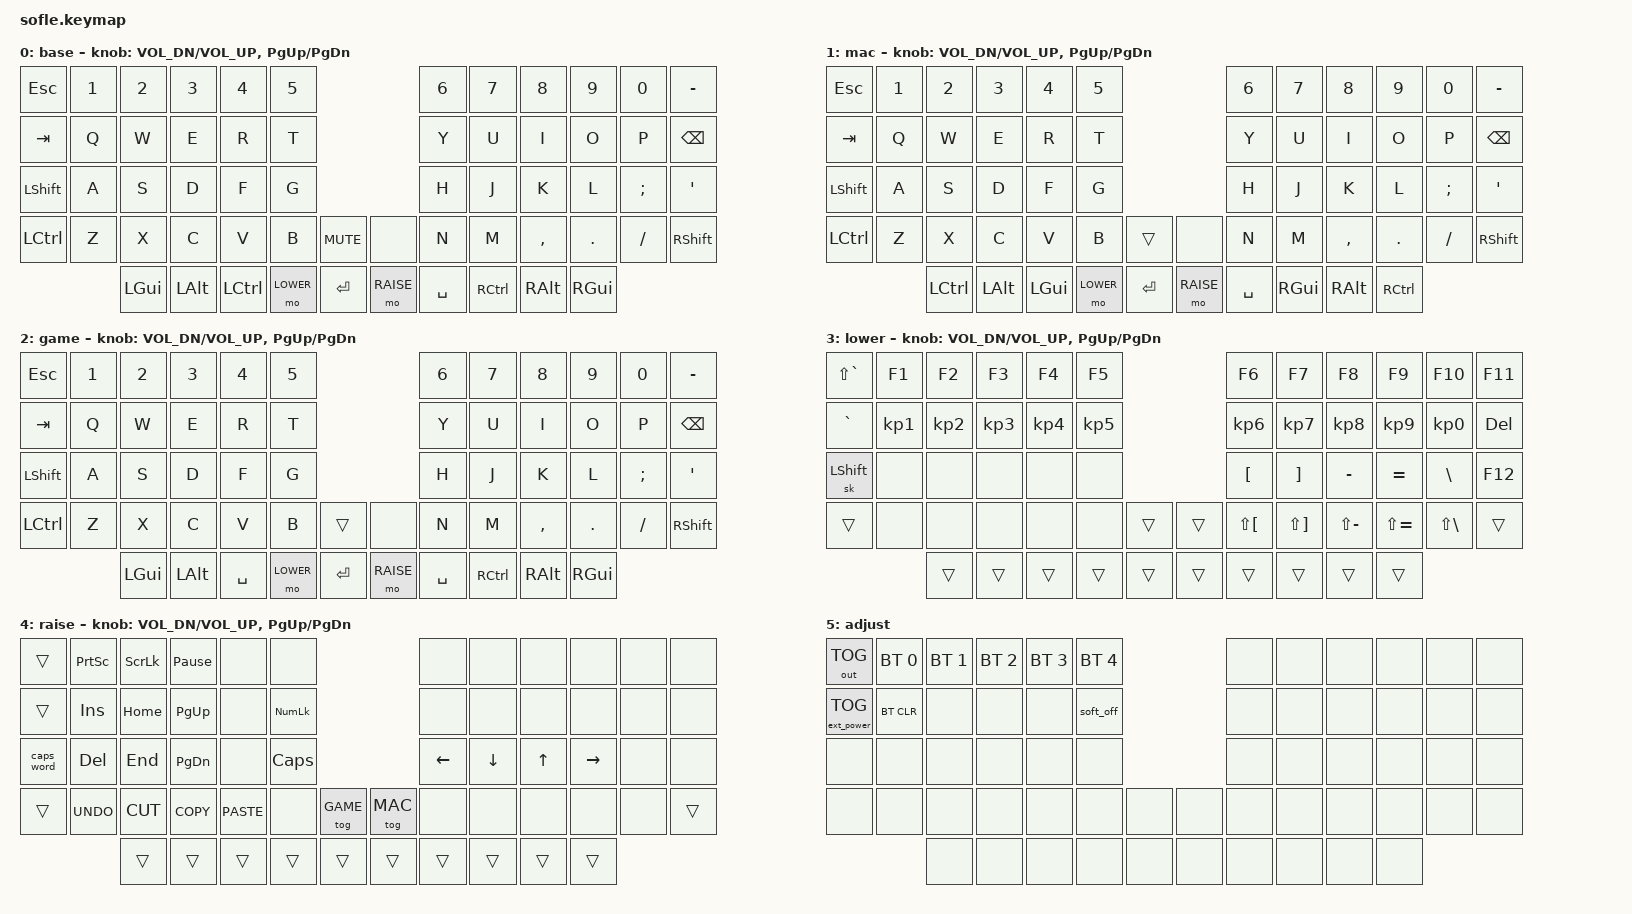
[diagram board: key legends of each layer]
/*
 * Copyright (c) 2020 The ZMK Contributors
 *
 * SPDX-License-Identifier: MIT
 */

#include <behaviors.dtsi>
#include <dt-bindings/zmk/keys.h>
#include <dt-bindings/zmk/bt.h>
#include <dt-bindings/zmk/rgb.h>
#include <dt-bindings/zmk/ext_power.h>
#include <dt-bindings/zmk/outputs.h>

#define BASE   0
#define MAC    1
#define GAME   2
#define LOWER  3
#define RAISE  4
#define ADJUST 5

/ {

   // Activate ADJUST layer by pressing raise and lower
    conditional_layers {
        compatible = "zmk,conditional-layers";
        adjust_layer {
            if-layers = <LOWER RAISE>;
            then-layer = <ADJUST>;
        };
    };

    keymap {
        compatible = "zmk,keymap";

        base_layer {
            display-name = "base";
// ------------------------------------------------------------------------------------------------------------
// |  ESC  |  1  |  2  |  3  |  4   |  5   |                   |  6   |  7    |  8   |  9   |   0   |   -   |
// |  TAB  |  Q  |  W  |  E  |  R   |  T   |                   |  Y   |  U    |  I   |  O   |   P   | BKSPC |
// | SHIFT |  A  |  S  |  D  |  F   |  G   |                   |  H   |  J    |  K   |  L   |   ;   |   '   |
// | CTRL  |  Z  |  X  |  C  |  V   |  B   |  MUTE  |  |       |  N   |  M    |  ,   |  .   |   /   | SHIFT |
//               | GUI | ALT | CTRL | LOWER|  ENTER |  | RAISE | SPACE| CTRL  | ALT  | GUI  |
            bindings = <
&kp ESC   &kp N1 &kp N2   &kp N3   &kp N4    &kp N5                          &kp N6    &kp N7    &kp N8    &kp N9   &kp N0   &kp MINUS
&kp TAB   &kp Q  &kp W    &kp E    &kp R     &kp T                           &kp Y     &kp U     &kp I     &kp O    &kp P    &kp BSPC
&kp LSHFT &kp A  &kp S    &kp D    &kp F     &kp G                           &kp H     &kp J     &kp K     &kp L    &kp SEMI &kp SQT
&kp LCTRL &kp Z  &kp X    &kp C    &kp V     &kp B     &kp C_MUTE  &none     &kp N     &kp M     &kp COMMA &kp DOT  &kp FSLH &kp RSHFT
            	 &kp LGUI &kp LALT &kp LCTRL &mo LOWER &kp RET     &mo RAISE &kp SPACE &kp RCTRL &kp RALT  &kp RGUI
            >;

            sensor-bindings = <&inc_dec_kp C_VOL_DN C_VOL_UP &inc_dec_kp PG_UP PG_DN>;
        };

        mac_layer {
            display-name = "mac";
// ------------------------------------------------------------------------------------------------------------
// |  ESC  |  1  |  2  |  3  |  4  |  5   |                   |  6   |  7   |  8   |  9   |   0   |   -   |
// |  TAB  |  Q  |  W  |  E  |  R  |  T   |                   |  Y   |  U   |  I   |  O   |   P   | BKSPC |
// | SHIFT |  A  |  S  |  D  |  F  |  G   |                   |  H   |  J   |  K   |  L   |   ;   |   '   |
// | CTRL  |  Z  |  X  |  C  |  V  |  B   |        |  |       |  N   |  M   |  ,   |  .   |   /   | SHIFT |
//               | CTRL| ALT | GUI | LOWER|  ENTER |  | RAISE | SPACE| GUI  | ALT  | CTRL |
            bindings = <
&kp ESC   &kp N1 &kp N2    &kp N3   &kp N4   &kp N5                       &kp N6    &kp N7   &kp N8    &kp N9    &kp N0   &kp MINUS
&kp TAB   &kp Q  &kp W     &kp E    &kp R    &kp T                        &kp Y     &kp U    &kp I     &kp O     &kp P    &kp BSPC
&kp LSHFT &kp A  &kp S     &kp D    &kp F    &kp G                        &kp H     &kp J    &kp K     &kp L     &kp SEMI &kp SQT
&kp LCTRL &kp Z  &kp X     &kp C    &kp V    &kp B     &trans   &none     &kp N     &kp M    &kp COMMA &kp DOT   &kp FSLH &kp RSHFT
            	 &kp LCTRL &kp LALT &kp LGUI &mo LOWER &kp RET  &mo RAISE &kp SPACE &kp RGUI &kp RALT  &kp RCTRL
            >;

            sensor-bindings = <&inc_dec_kp C_VOL_DN C_VOL_UP &inc_dec_kp PG_UP PG_DN>;
        };

        game_layer {
            display-name = "game";
// ------------------------------------------------------------------------------------------------------------
// |  ESC  |  1  |  2  |  3  |  4   |  5   |                   |  6   |  7    |  8   |  9   |   0   |   -   |
// |  TAB  |  Q  |  W  |  E  |  R   |  T   |                   |  Y   |  U    |  I   |  O   |   P   | BKSPC |
// | SHIFT |  A  |  S  |  D  |  F   |  G   |                   |  H   |  J    |  K   |  L   |   ;   |   '   |
// | CTRL  |  Z  |  X  |  C  |  V   |  B   |        |  |       |  N   |  M    |  ,   |  .   |   /   | SHIFT |
//               | GUI | ALT | SPACE| LOWER|  ENTER |  | RAISE | SPACE| CTRL  | ALT  | GUI  |
            bindings = <
&kp ESC   &kp N1 &kp N2   &kp N3   &kp N4    &kp N5                       &kp N6    &kp N7    &kp N8    &kp N9   &kp N0   &kp MINUS
&kp TAB   &kp Q  &kp W    &kp E    &kp R     &kp T                        &kp Y     &kp U     &kp I     &kp O    &kp P    &kp BSPC
&kp LSHFT &kp A  &kp S    &kp D    &kp F     &kp G                        &kp H     &kp J     &kp K     &kp L    &kp SEMI &kp SQT
&kp LCTRL &kp Z  &kp X    &kp C    &kp V     &kp B     &trans    &none     &kp N     &kp M     &kp COMMA &kp DOT  &kp FSLH &kp RSHFT
            	 &kp LGUI &kp LALT &kp SPACE &mo LOWER &kp RET  &mo RAISE &kp SPACE &kp RCTRL &kp RALT  &kp RGUI
            >;

            sensor-bindings = <&inc_dec_kp C_VOL_DN C_VOL_UP &inc_dec_kp PG_UP PG_DN>;
        };

        lower_layer {
            display-name = "lower";
// TODO: Some binds are waiting for shifted keycode support.
// ------------------------------------------------------------------------------------------------------------
// |   ~    |  F1 |  F2 |  F3  |  F4  |  F5  |                   |  F6  |  F7   |  F8  |  F9  |  F10  |  F11  |
// |   `    |  1  |  2  |  3   |  4   |  5   |                   |  6   |  7    |  8   |  9   |   0   |  DEL  |
// |SK_SHIFT|     |     |      |      |      |                   |  [   |  ]    |  -   |  =   |   \   |  F12  |
// |        |     |     |      |      |      |        |  |       |      |       |      |      |       |       |
//                |     |      |      |      |        |  |       |      |       |      |      |
            bindings = <
				&kp LS(GRAVE) &kp F1    &kp F2    &kp F3    &kp F4    &kp F5                   &kp F6       &kp F7       &kp F8        &kp F9        &kp F10      &kp F11
&kp GRAVE     &kp KP_N1 &kp KP_N2 &kp KP_N3 &kp KP_N4 &kp KP_N5                &kp KP_N6    &kp KP_N7    &kp KP_N8     &kp KP_N9     &kp KP_N0    &kp DEL
&sk LSHIFT    &none     &none     &none     &none     &none                    &kp LBKT     &kp RBKT     &kp MINUS     &kp EQUAL     &kp BSLH     &kp F12
&trans        &none     &none     &none     &none     &none     &trans  &trans &kp LS(LBKT) &kp LS(RBKT) &kp LS(MINUS) &kp LS(EQUAL) &kp LS(BSLH) &trans
					    &trans    &trans    &trans    &trans    &trans  &trans &trans       &trans       &trans        &trans
            >;

            sensor-bindings = <&inc_dec_kp C_VOL_DN C_VOL_UP &inc_dec_kp PG_UP PG_DN>;
        };

        raise_layer {
            display-name = "raise";
// ------------------------------------------------------------------------------------------------------------
// |        | PSCR | SLCK | PAUSE |       |      |                |      |      |      |      |       |       |
// |        | INS  | HOME | PGUP  |       | NUM  |                |      |      |      |      |       |       |
// |CAPSWORD| DEL  | END  | PGDN  |       | CAPS |                | LEFT | DOWN |  UP  | RIGHT|       |       |
// |        | UNDO | CUT  | COPY  | PASTE |      | GAME |  | MAC  |      |      |      |      |       |       |
//                 |      |       |       |      |      |  |      |      |      |      |      |
            bindings = <
&trans     &kp PSCRN  &kp SLCK  &kp PAUSE_BREAK &none       &none                          &none    &none    &none  &none     &none &none
&trans     &kp INS    &kp HOME  &kp PG_UP       &none       &kp KP_NUM                     &none    &none    &none  &none     &none &none
&caps_word &kp DEL    &kp END   &kp PG_DN       &none       &kp CLCK                       &kp LEFT &kp DOWN &kp UP &kp RIGHT &none &none
&trans     &kp K_UNDO &kp K_CUT &kp K_COPY      &kp K_PASTE &none      &tog GAME  &tog MAC &none    &none    &none  &none     &none &trans
                      &trans    &trans          &trans      &trans     &trans     &trans   &trans   &trans   &trans &trans
            >;

            sensor-bindings = <&inc_dec_kp C_VOL_DN C_VOL_UP &inc_dec_kp PG_UP PG_DN>;
        };

        adjust_layer {
// ----------------------------------------------------------------------------------------------------------------------------
// | OUTTOG |  BT0    |  BT1    |   BT2   |   BT3   |   BT4   |                  |      |      |       |      |       |       |
// | EXTPWR |  BTCLR  |         |         |         | SOFTOFF |                  |      |      |       |      |       |       |
// |        |         |         |         |         |         |                  |      |      |       |      |       |       |
// |        |         |         |         |         |         |         | |      |      |      |       |      |       |       |
//                    |         |         |         |         |         | |      |      |      |       |      |
            display-name = "adjust";
            bindings = <
&out OUT_TOG      &bt BT_SEL 0 &bt BT_SEL 1 &bt BT_SEL 2 &bt BT_SEL 3 &bt BT_SEL 4              &none &none &none &none &none &none
&ext_power EP_TOG &bt BT_CLR   &none        &none        &none        &soft_off                 &none &none &none &none &none &none
&none             &none        &none        &none        &none        &none                     &none &none &none &none &none &none
&none             &none        &none        &none        &none        &none        &none  &none &none &none &none &none &none &none
                               &none        &none        &none        &none        &none  &none &none &none &none &none
            >;
        };

    };
};
